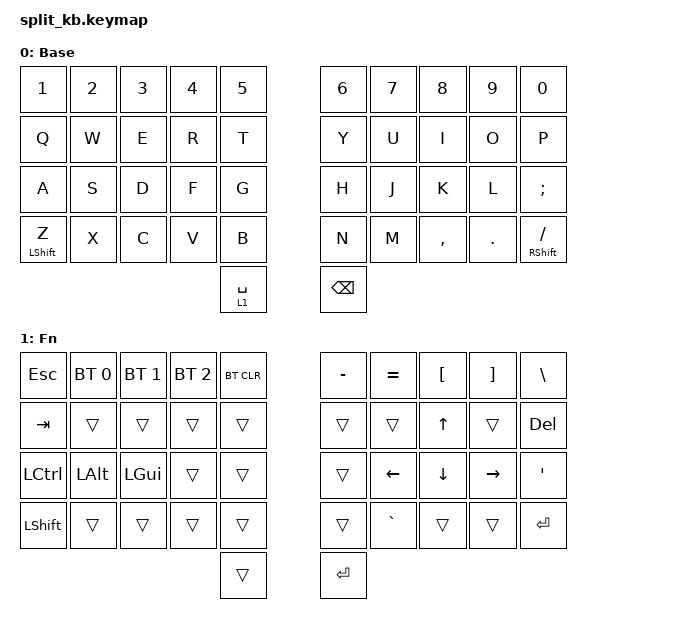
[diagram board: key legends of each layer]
#include <behaviors.dtsi>
#include <dt-bindings/zmk/keys.h>
#include <dt-bindings/zmk/bt.h>

/ {
    keymap {
        compatible = "zmk,keymap";

        base_layer {
            display-name = "Base";
            bindings = <
&kp N1      &kp N2  &kp N3  &kp N4  &kp N5      &kp N6  &kp N7  &kp N8     &kp N9   &kp N0
&kp Q       &kp W   &kp E   &kp R   &kp T       &kp Y   &kp U   &kp I      &kp O    &kp P
&kp A       &kp S   &kp D   &kp F   &kp G       &kp H   &kp J   &kp K      &kp L    &kp SEMI
&mt LSHFT Z &kp X   &kp C   &kp V   &kp B       &kp N   &kp M   &kp COMMA  &kp DOT  &mt RSHFT FSLH
                                &lt 1 SPACE     &kp BSPC
            >;
        };

        fn_layer {
            display-name = "Fn";
            bindings = <
&kp ESC     &bt BT_SEL 0 &bt BT_SEL 1 &bt BT_SEL 2 &bt BT_CLR    &kp MINUS &kp EQUAL &kp LBKT  &kp RBKT  &kp BSLH
&kp TAB     &trans       &trans       &trans       &trans        &trans    &trans    &kp UP    &trans    &kp DEL
&kp LCTRL   &kp LALT     &kp LGUI     &trans       &trans        &trans    &kp LEFT  &kp DOWN  &kp RIGHT &kp SQT
&kp LSHFT   &trans       &trans       &trans       &trans        &trans    &kp GRAVE &trans    &trans    &kp RET
                                              &trans    &kp RET
            >;
        };
    };
};
